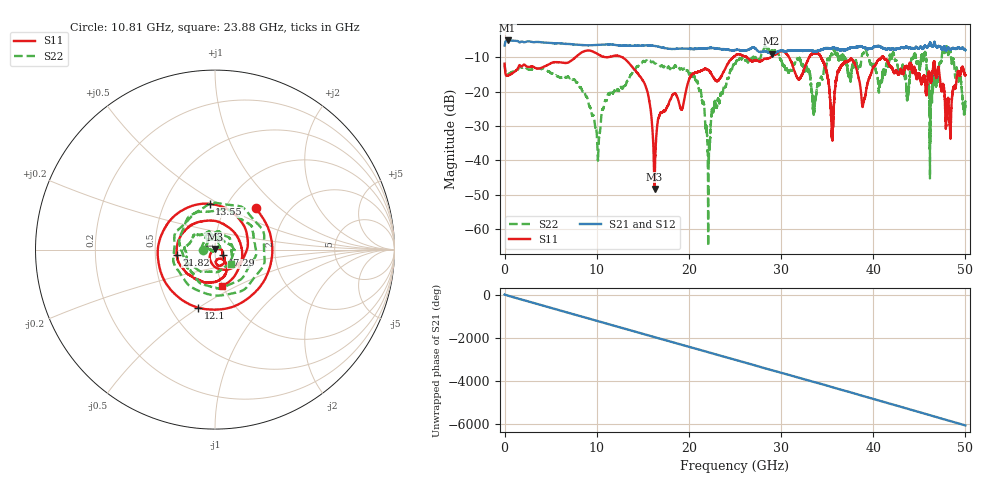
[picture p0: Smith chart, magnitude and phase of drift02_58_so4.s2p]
!Created with skrf (http://scikit-rf.org).
# Hz S RI R 50.0
!freq ReS11 ImS11 ReS21 ImS21 ReS12 ImS12 ReS22 ImS22
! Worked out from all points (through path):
!   10001 points, 300 kHz to 50 GHz, reference 50 ohm
!   highest |S21| = -5.04 dB at 325.3 MHz (marker M1); lowest = -8.9 dB at 28.98 GHz (marker M2)
!   group delay of S21, straight-line fit = 336 ps
!   lowest |S11| = -48.4 dB at 16.27 GHz (marker M3), VSWR 1.01, Z = 49.9 + j0.361 ohm
!   |S11| at or under -10 dB: start of sweep to 7.666 GHz; 12.81 GHz to 24.78 GHz (11.96 GHz wide, 63.6 % of centre); 41.14 GHz to end of sweep (the widest 3 of 9)
!   |S22| runs from -65.0 to -6.5 dB; largest |S21 - S12| = 0.03
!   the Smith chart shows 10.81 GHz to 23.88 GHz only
!   S11 on the Smith chart (normalised r, x): 10.81 GHz: 1.38, +0.70; 12.1 GHz: 0.68, -0.50; 13.55 GHz: 0.83, +0.45; 17.29 GHz: 1.09, -0.07; 21.82 GHz: 0.65, -0.04; 23.88 GHz: 0.99, -0.42
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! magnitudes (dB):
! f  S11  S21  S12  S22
! 300 kHz  -11.8  -6.5  -6.5  -11.7
! 325.3 MHz  -15.3  -5.0  -5.0  -15.1
! 8.335 GHz  -8.6  -6.4  -6.4  -19.1
! 10.11 GHz  -9.0  -6.3  -6.3  -39.1
! 10.81 GHz  -9.8  -6.2  -6.2  -23.6
! 12.1 GHz  -9.5  -6.4  -6.4  -20.4
! 13.55 GHz  -11.8  -6.6  -6.6  -15.9
! 16.27 GHz  -48.4  -6.6  -6.6  -11.7
! 16.67 GHz  -27.8  -6.8  -6.8  -12.2
! 17.29 GHz  -25.5  -7.2  -7.2  -12.9
! 21.82 GHz  -13.3  -7.3  -7.4  -30.6
! 23.88 GHz  -13.6  -7.6  -7.6  -18.3
! 25 GHz  -9.5  -7.8  -7.8  -12.0
! 28.98 GHz  -9.8  -8.9  -8.9  -8.0
! 33.34 GHz  -9.1  -8.0  -8.0  -20.0
! 35.55 GHz  -31.0  -7.2  -7.2  -9.1
! 36.79 GHz  -11.8  -7.9  -7.9  -9.6
! 41.67 GHz  -11.8  -7.4  -7.5  -12.1
! 45.5 GHz  -15.5  -6.9  -7.0  -9.5
! 46.25 GHz  -17.4  -6.1  -6.1  -22.3
! 48.12 GHz  -21.9  -7.2  -7.1  -9.1
! 50 GHz  -15.1  -7.8  -7.9  -23.0
